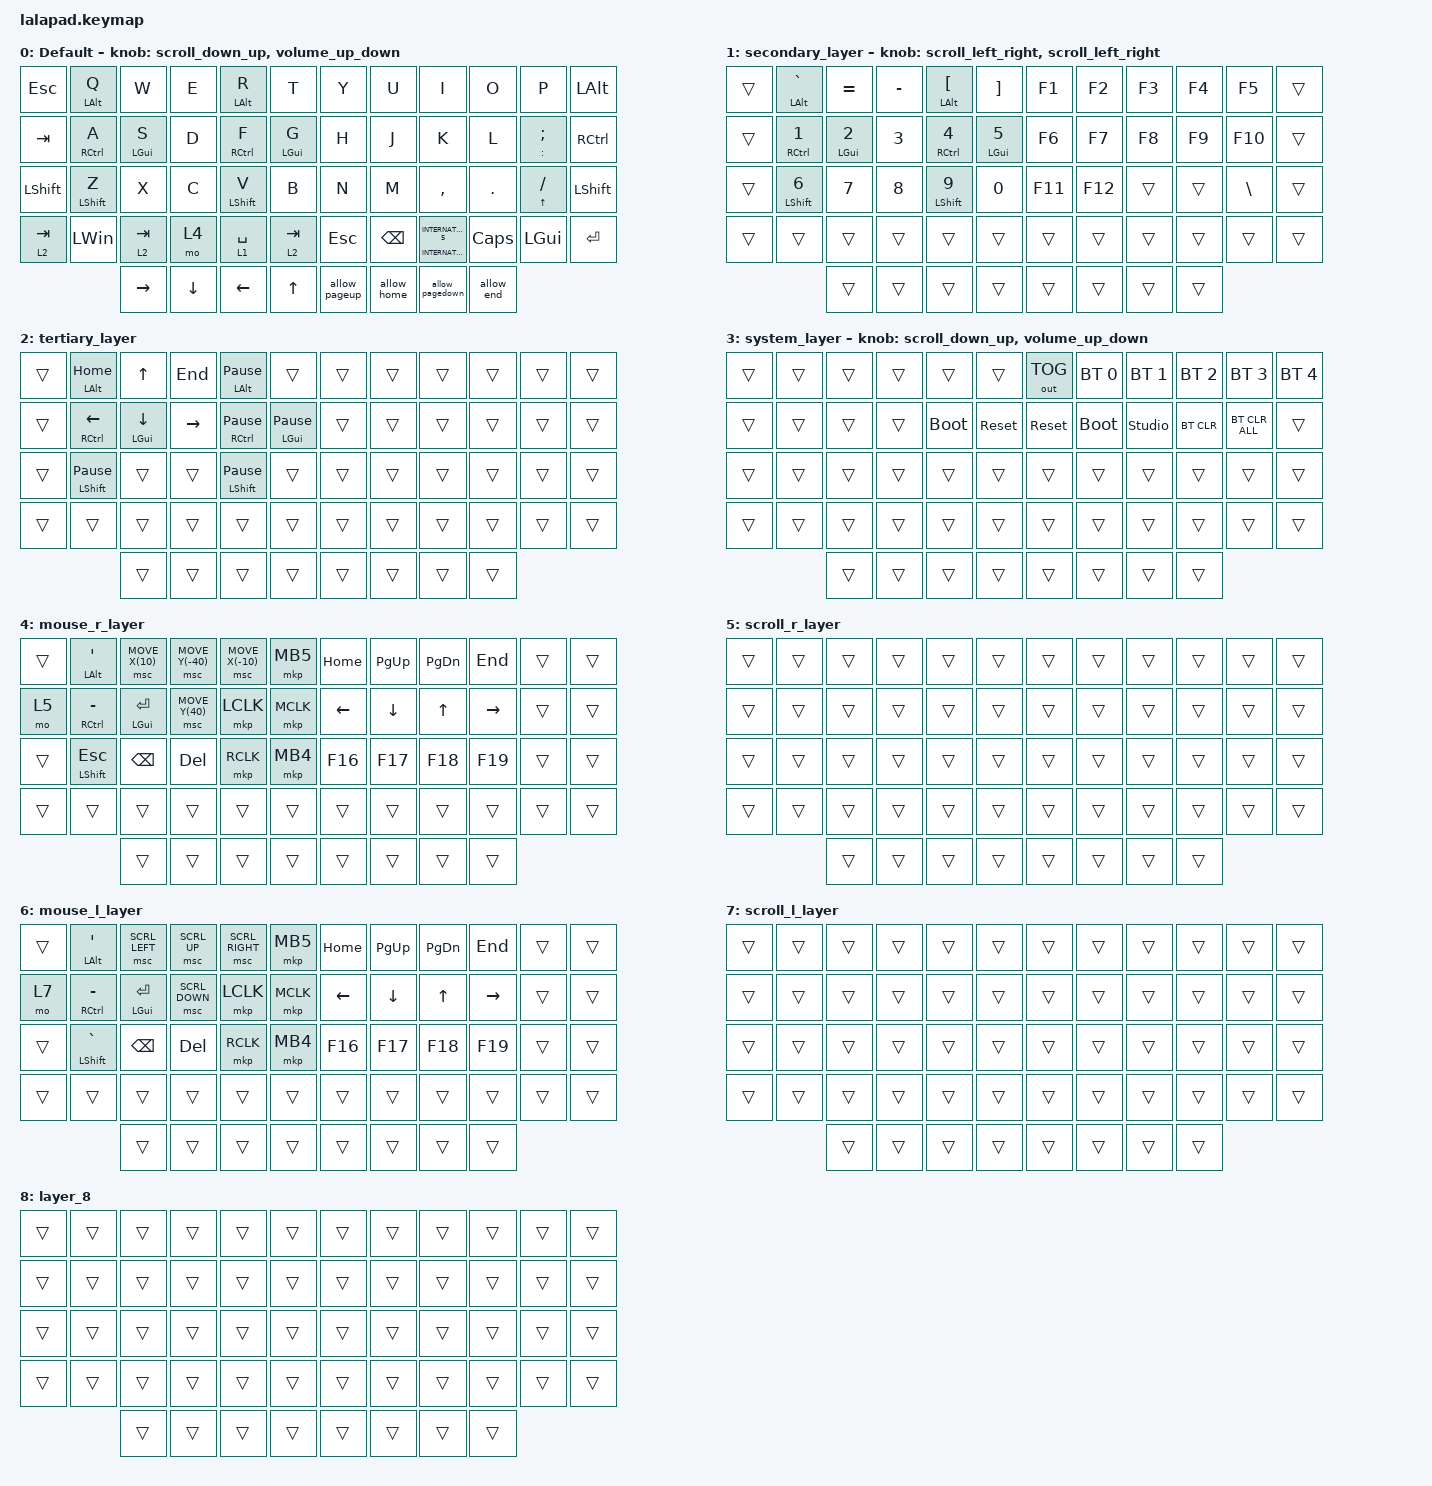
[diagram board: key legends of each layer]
#include <input/processors.dtsi>
#include <behaviors.dtsi>
#include <dt-bindings/zmk/bt.h>
#include <dt-bindings/zmk/keys.h>
#include <dt-bindings/zmk/outputs.h>
#include <dt-bindings/zmk/pointing.h>

#define DEFAULT_LAYER   0
#define SECONDARY_LAYER 1
#define TERTIARY_LAYER  2
#define SYSTEM_LAYER    3
#define MOUSE_R_LAYER   4
#define SCROLL_R_LAYER  5
#define MOUSE_L_LAYER   6
#define SCROLL_L_LAYER  7

// Mouse Scroll Value

#define ZMK_POINTING_DEFAULT_SCRL_VAL 100

// cirque trackpad input&layer control

&glidepoint_listener_R {
    input-processors =
        <&zip_xy_transform (INPUT_TRANSFORM_XY_SWAP | INPUT_TRANSFORM_X_INVERT | INPUT_TRANSFORM_Y_INVERT)>,
        <&zip_xy_scaler 4 2>;

    //,
    //<&zip_temp_layer MOUSE_R_LAYER 500>;

    lowspeedmode {
        layers = <SECONDARY_LAYER>;
        input-processors =
            <&zip_xy_transform (INPUT_TRANSFORM_XY_SWAP | INPUT_TRANSFORM_X_INVERT | INPUT_TRANSFORM_Y_INVERT)>,
            <&zip_xy_scaler 3 2>,
            <&zip_temp_layer MOUSE_R_LAYER 500>;
    };

    scroller {
        layers = <SCROLL_R_LAYER>;
        input-processors =
            <&zip_xy_to_scroll_mapper>,
            <&zip_scroll_transform (INPUT_TRANSFORM_XY_SWAP | INPUT_TRANSFORM_Y_INVERT)>,
            <&zip_scroll_scaler 1 8>;
    };
};

&glidepoint_listener_L {
    input-processors =
        <&zip_xy_transform (INPUT_TRANSFORM_XY_SWAP | INPUT_TRANSFORM_X_INVERT | INPUT_TRANSFORM_Y_INVERT)>,
        <&zip_xy_scaler 3 2>,
        <&zip_temp_layer MOUSE_L_LAYER 500>;

    lowspeedmode {
        layers = <SECONDARY_LAYER>;
        input-processors =
            <&zip_xy_transform (INPUT_TRANSFORM_XY_SWAP | INPUT_TRANSFORM_X_INVERT | INPUT_TRANSFORM_Y_INVERT)>,
            <&zip_xy_scaler 3 4>,
            <&zip_temp_layer MOUSE_L_LAYER 500>;
    };

    scroller {
        layers = <SCROLL_L_LAYER>;
        input-processors =
            <&zip_xy_to_scroll_mapper>,
            <&zip_scroll_transform (INPUT_TRANSFORM_XY_SWAP | INPUT_TRANSFORM_Y_INVERT)>,
            <&zip_scroll_scaler 1 6>;
    };
};

&mt {
    flavor = "balanced";
    quick-tap-ms = <200>;
};

/ {
    behaviors {
        // Encoder to Mouse Scroll

        scroll_up_down: sensor_scroll_up_down {
            compatible = "zmk,behavior-sensor-rotate";
            #sensor-binding-cells = <0>;
            bindings = <&msc SCRL_UP>, <&msc SCRL_DOWN>;

            tap-ms = <20>;
            label = "SCROLL_UP_DOWN";
        };

        scroll_down_up: sensor_scroll_down_up {
            compatible = "zmk,behavior-sensor-rotate";
            #sensor-binding-cells = <0>;
            bindings = <&msc SCRL_DOWN>, <&msc SCRL_UP>;

            tap-ms = <20>;
            label = "SCROLL_DOWN_UP";
        };

        scroll_left_right: sensor_scroll_left_right {
            compatible = "zmk,behavior-sensor-rotate";
            #sensor-binding-cells = <0>;
            bindings = <&msc SCRL_LEFT>, <&msc SCRL_RIGHT>;

            tap-ms = <20>;
            label = "SCROLL_LEFT_RIGHT";
        };

        scroll_right_left: sensor_scroll_right_left {
            compatible = "zmk,behavior-sensor-rotate";
            #sensor-binding-cells = <0>;
            bindings = <&msc SCRL_RIGHT>, <&msc SCRL_LEFT>;

            tap-ms = <20>;
            label = "SCROLL_RIGHT_LEFT";
        };

        volume_up_down: sensor_volume_up_down {
            compatible = "zmk,behavior-sensor-rotate";
            #sensor-binding-cells = <0>;
            bindings = <&kp C_VOLUME_DOWN>, <&kp C_VOLUME_UP>;

            tap-ms = <20>;
            label = "VOLUME_UP_DOWN";
        };

        dot_comma: dot_comma {
            compatible = "zmk,behavior-mod-morph";
            #binding-cells = <0>;
            bindings = <&kp KP_DOT>, <&kp COMMA>;

            mods = <(MOD_LSFT|MOD_RSFT)>;
            label = "DOT_COMMA";
        };

        pls_minus: pls_minus {
            compatible = "zmk,behavior-mod-morph";
            #binding-cells = <0>;
            bindings = <&kp PLUS>, <&kp MINUS>;

            mods = <(MOD_LSFT|MOD_RSFT)>;
            label = "PLS_MINUS";
        };

        allow_pageup: allow_pageup {
            compatible = "zmk,behavior-mod-morph";
            #binding-cells = <0>;
            bindings = <&kp UP>, <&kp PAGE_UP>;

            mods = <(MOD_LCTL|MOD_RCTL)>;
            label = "ALLOW_PAGEUP";
        };

        allow_pagedown: allow_pagedown {
            compatible = "zmk,behavior-mod-morph";
            #binding-cells = <0>;
            bindings = <&kp DOWN>, <&kp PAGE_DOWN>;

            mods = <(MOD_LCTL|MOD_RCTL)>;
            label = "ALLOW_PAGEDOWN";
        };

        allow_home: allow_home {
            compatible = "zmk,behavior-mod-morph";
            #binding-cells = <0>;
            bindings = <&kp LEFT>, <&kp HOME>;

            mods = <(MOD_LCTL|MOD_RCTL)>;
            label = "ALLOW_HOME";
        };

        allow_end: allow_end {
            compatible = "zmk,behavior-mod-morph";
            #binding-cells = <0>;
            bindings = <&kp RIGHT>, <&kp END>;

            mods = <(MOD_LCTL|MOD_RCTL)>;
            label = "ALLOW_END";
        };

        mt2: mod_tap2 {
            compatible = "zmk,behavior-hold-tap";
            #binding-cells = <2>;
            flavor = "tap-preferred";
            tapping-term-ms = <200>;
            quick-tap-ms = <200>;
            require-prior-idle-ms = <125>;
            bindings = <&kp>, <&kp>;
        };
    };

    keymap {
        compatible = "zmk,keymap";

        DEFAULT_LAYER {
            display-name = "Default";
            sensor-bindings = <&scroll_down_up>, <&volume_up_down>;

            bindings = <
&kp ESC    &mt LEFT_ALT Q       &kp W            &kp E           &mt LEFT_ALT R       &kp T           &kp Y          &kp U          &kp I                                &kp O       &kp P                 &kp LALT
&kp TAB    &mt RIGHT_CONTROL A  &mt LEFT_GUI S   &kp D           &mt RIGHT_CONTROL F  &mt LEFT_GUI G  &kp H          &kp J          &kp K                                &kp L       &mt2 COLON SEMICOLON  &kp RIGHT_CONTROL
&kp LSHFT  &mt LEFT_SHIFT Z     &kp X            &kp C           &mt LEFT_SHIFT V     &kp B           &kp N          &kp M          &kp COMMA                            &kp PERIOD  &mt2 UP SLASH         &kp LEFT_SHIFT
&lt 2 TAB  &kp LEFT_WIN         &lt 2 TAB        &mo 4           &lt 1 SPACE          &lt 2 TAB       &kp ESCAPE     &kp BACKSPACE  &mt INTERNATIONAL_4 INTERNATIONAL_5  &kp CAPS    &kp LEFT_GUI          &kp ENTER
                                &kp RIGHT_ARROW  &kp DOWN_ARROW  &kp LEFT_ARROW       &kp UP_ARROW    &allow_pageup  &allow_home    &allow_pagedown                      &allow_end
            >;
        };

        SECONDARY_LAYER {
            display-name = "secondary_layer";
            sensor-bindings = <&scroll_left_right>, <&scroll_left_right>;

            bindings = <
&trans  &mt LEFT_ALT GRAVE          &kp EQUAL              &kp MINUS     &mt LEFT_ALT LEFT_BRACKET   &kp RIGHT_BRACKET      &kp F1   &kp F2   &kp F3  &kp F4  &kp F5         &trans
&trans  &mt RIGHT_CONTROL NUMBER_1  &mt LEFT_GUI NUMBER_2  &kp NUMBER_3  &mt RIGHT_CONTROL NUMBER_4  &mt LEFT_GUI NUMBER_5  &kp F6   &kp F7   &kp F8  &kp F9  &kp F10        &trans
&trans  &mt LEFT_SHIFT NUMBER_6     &kp NUMBER_7           &kp NUMBER_8  &mt LEFT_SHIFT NUMBER_9     &kp NUMBER_0           &kp F11  &kp F12  &trans  &trans  &kp BACKSLASH  &trans
&trans  &trans                      &trans                 &trans        &trans                      &trans                 &trans   &trans   &trans  &trans  &trans         &trans
                                    &trans                 &trans        &trans                      &trans                 &trans   &trans   &trans  &trans
            >;
        };

        TERTIARY_LAYER {
            display-name = "tertiary_layer";
            bindings = <
&trans  &mt LEFT_ALT HOME             &kp UP_ARROW         &kp END    &mt LEFT_ALT PAUSE_BREAK       &trans                    &trans  &trans  &trans  &trans  &trans  &trans
&trans  &mt RIGHT_CONTROL LEFT_ARROW  &mt LGUI DOWN_ARROW  &kp RIGHT  &mt RIGHT_CONTROL PAUSE_BREAK  &mt LEFT_GUI PAUSE_BREAK  &trans  &trans  &trans  &trans  &trans  &trans
&trans  &mt LEFT_SHIFT PAUSE_BREAK    &trans               &trans     &mt LEFT_SHIFT PAUSE_BREAK     &trans                    &trans  &trans  &trans  &trans  &trans  &trans
&trans  &trans                        &trans               &trans     &trans                         &trans                    &trans  &trans  &trans  &trans  &trans  &trans
                                      &trans               &trans     &trans                         &trans                    &trans  &trans  &trans  &trans
            >;
        };

        SYSTEM_LAYER {
            display-name = "system_layer";
            sensor-bindings = <&scroll_down_up>, <&volume_up_down>;

            bindings = <
&trans  &trans  &trans  &trans  &trans       &trans      &out OUT_TOG  &bt BT_SEL 0  &bt BT_SEL 1    &bt BT_SEL 2  &bt BT_SEL 3    &bt BT_SEL 4
&trans  &trans  &trans  &trans  &bootloader  &sys_reset  &sys_reset    &bootloader   &studio_unlock  &bt BT_CLR    &bt BT_CLR_ALL  &trans
&trans  &trans  &trans  &trans  &trans       &trans      &trans        &trans        &trans          &trans        &trans          &trans
&trans  &trans  &trans  &trans  &trans       &trans      &trans        &trans        &trans          &trans        &trans          &trans
                &trans  &trans  &trans       &trans      &trans        &trans        &trans          &trans
            >;
        };

        MOUSE_R_LAYER {
            display-name = "mouse_r_layer";
            bindings = <
&trans  &mt LEFT_ALT SQT         &msc MOVE_X(10)  &msc MOVE_Y(-40)  &msc MOVE_X(-10)  &mkp MB5   &kp HOME  &kp PAGE_UP  &kp PAGE_DOWN  &kp END    &trans  &trans
&mo 5   &mt RIGHT_CONTROL MINUS  &mt LGUI ENTER   &msc MOVE_Y(40)   &mkp LCLK         &mkp MCLK  &kp LEFT  &kp DOWN     &kp UP_ARROW   &kp RIGHT  &trans  &trans
&trans  &mt LEFT_SHIFT ESCAPE    &kp BACKSPACE    &kp DEL           &mkp RCLK         &mkp MB4   &kp F16   &kp F17      &kp F18        &kp F19    &trans  &trans
&trans  &trans                   &trans           &trans            &trans            &trans     &trans    &trans       &trans         &trans     &trans  &trans
                                 &trans           &trans            &trans            &trans     &trans    &trans       &trans         &trans
            >;
        };

        SCROLL_R_LAYER {
            display-name = "scroll_r_layer";
            bindings = <
&trans  &trans  &trans  &trans  &trans  &trans  &trans  &trans  &trans  &trans  &trans  &trans
&trans  &trans  &trans  &trans  &trans  &trans  &trans  &trans  &trans  &trans  &trans  &trans
&trans  &trans  &trans  &trans  &trans  &trans  &trans  &trans  &trans  &trans  &trans  &trans
&trans  &trans  &trans  &trans  &trans  &trans  &trans  &trans  &trans  &trans  &trans  &trans
                &trans  &trans  &trans  &trans  &trans  &trans  &trans  &trans
            >;
        };

        MOUSE_L_LAYER {
            display-name = "mouse_l_layer";
            bindings = <
&trans  &mt LEFT_ALT SQT         &msc SCRL_LEFT  &msc SCRL_UP    &msc SCRL_RIGHT  &mkp MB5   &kp HOME  &kp PAGE_UP  &kp PAGE_DOWN  &kp END    &trans  &trans
&mo 7   &mt RIGHT_CONTROL MINUS  &mt LGUI ENTER  &msc SCRL_DOWN  &mkp LCLK        &mkp MCLK  &kp LEFT  &kp DOWN     &kp UP_ARROW   &kp RIGHT  &trans  &trans
&trans  &mt LEFT_SHIFT GRAVE     &kp BACKSPACE   &kp DEL         &mkp RCLK        &mkp MB4   &kp F16   &kp F17      &kp F18        &kp F19    &trans  &trans
&trans  &trans                   &trans          &trans          &trans           &trans     &trans    &trans       &trans         &trans     &trans  &trans
                                 &trans          &trans          &trans           &trans     &trans    &trans       &trans         &trans
            >;
        };

        SCROLL_L_LAYER {
            display-name = "scroll_l_layer";
            bindings = <
&trans  &trans  &trans  &trans  &trans  &trans  &trans  &trans  &trans  &trans  &trans  &trans
&trans  &trans  &trans  &trans  &trans  &trans  &trans  &trans  &trans  &trans  &trans  &trans
&trans  &trans  &trans  &trans  &trans  &trans  &trans  &trans  &trans  &trans  &trans  &trans
&trans  &trans  &trans  &trans  &trans  &trans  &trans  &trans  &trans  &trans  &trans  &trans
                &trans  &trans  &trans  &trans  &trans  &trans  &trans  &trans
            >;
        };

        layer_8 {
            bindings = <
&trans  &trans  &trans  &trans  &trans  &trans  &trans  &trans  &trans  &trans  &trans  &trans
&trans  &trans  &trans  &trans  &trans  &trans  &trans  &trans  &trans  &trans  &trans  &trans
&trans  &trans  &trans  &trans  &trans  &trans  &trans  &trans  &trans  &trans  &trans  &trans
&trans  &trans  &trans  &trans  &trans  &trans  &trans  &trans  &trans  &trans  &trans  &trans
                &trans  &trans  &trans  &trans  &trans  &trans  &trans  &trans
            >;
        };
    };
};
